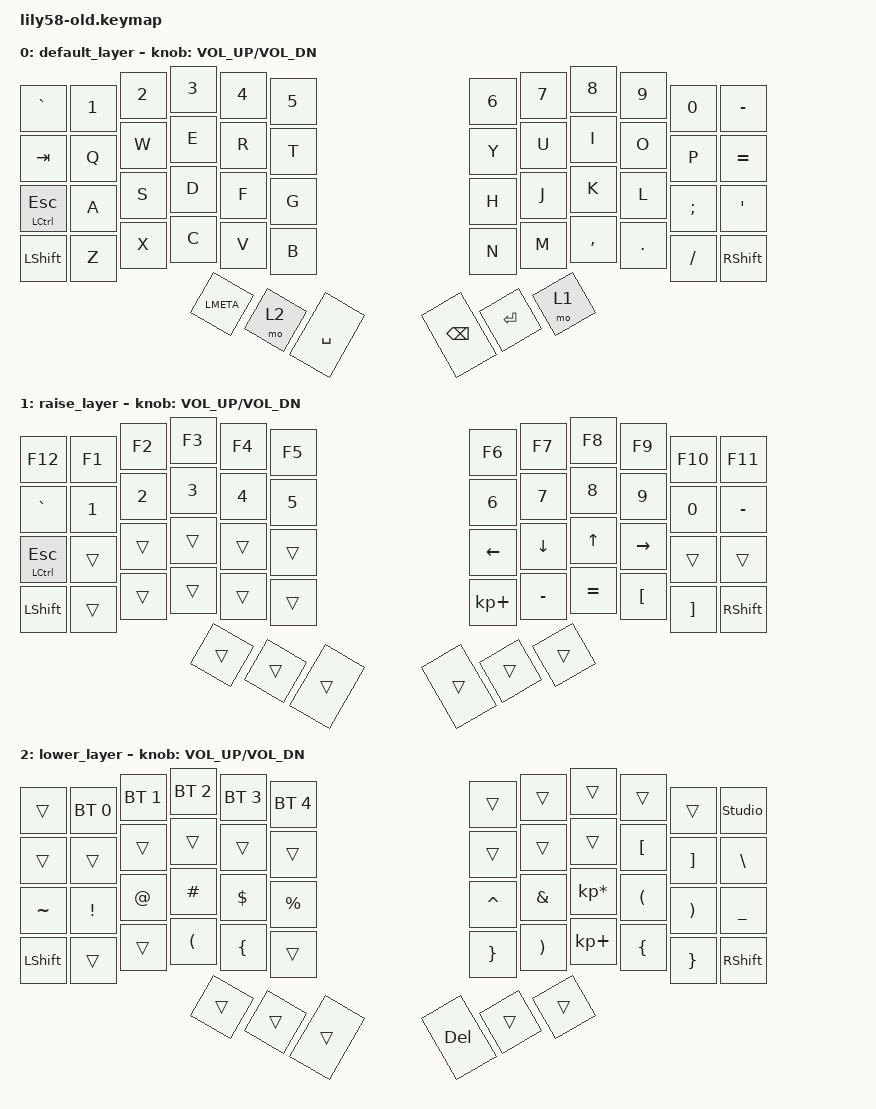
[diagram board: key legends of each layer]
/*
 * Copyright (c) 2020 The ZMK Contributors
 *
 * SPDX-License-Identifier: MIT
 */

#include <behaviors.dtsi>
#include <dt-bindings/zmk/keys.h>
#include <dt-bindings/zmk/bt.h>
#include <dt-bindings/zmk/ext_power.h>

/*
 * Cygnus 4x6 on the Lily58 matrix. The halves use the Lily58 shield, its pins
 * and its rows and columns. The Cygnus has 54 keys, the Lily58 58, so this
 * map leaves out four Lily58 matrix spots: the two inner keys beside the
 * bottom row (RC(4,5), RC(4,6)) and the outermost thumb on each side
 * (RC(4,1), RC(4,10)). The three Cygnus thumbs per side use the other three
 * Lily58 thumb spots, outer to inner on the left and inner to outer on the
 * right. Wire the Cygnus thumbs to those spots.
 *
 * It replaces the map of the shield's default_transform rather than adding a
 * new transform, so the right half keeps the shield's col-offset of 6.
 *
 * The map uses MX(row, col) instead of the usual RC(row, col): keys.h, included
 * above, redefines RC() as the "right Ctrl +" key modifier, which takes one
 * argument. MX is the same formula as RC in matrix_transform.h.
 */
#define MX(row, col) (((row) << 8) + (col))
&default_transform {
    map = <
MX(0,0) MX(0,1) MX(0,2) MX(0,3) MX(0,4) MX(0,5)     MX(0,6) MX(0,7) MX(0,8) MX(0,9) MX(0,10) MX(0,11)
MX(1,0) MX(1,1) MX(1,2) MX(1,3) MX(1,4) MX(1,5)     MX(1,6) MX(1,7) MX(1,8) MX(1,9) MX(1,10) MX(1,11)
MX(2,0) MX(2,1) MX(2,2) MX(2,3) MX(2,4) MX(2,5)     MX(2,6) MX(2,7) MX(2,8) MX(2,9) MX(2,10) MX(2,11)
MX(3,0) MX(3,1) MX(3,2) MX(3,3) MX(3,4) MX(3,5)     MX(3,6) MX(3,7) MX(3,8) MX(3,9) MX(3,10) MX(3,11)
                        MX(4,2) MX(4,3) MX(4,4)     MX(4,7) MX(4,8) MX(4,9)
    >;
};

/*
 * Cygnus 4x6 physical layout, for ZMK Studio. Same positions as
 * config/info.json (the Keymap Editor's copy), in hundredths of a key.
 */
/ {
    chosen {
        zmk,physical-layout = &cygnus_layout;
    };

    cygnus_layout: cygnus_layout {
        compatible = "zmk,physical-layout";
        display-name = "Cygnus 4x6";
        transform = <&default_transform>;

        keys  //                     w   h     x     y      rot    rx    ry
            = <&key_physical_attrs 100 100     0    38        0     0     0>
            , <&key_physical_attrs 100 100   100    38        0     0     0>
            , <&key_physical_attrs 100 100   200    12        0     0     0>
            , <&key_physical_attrs 100 100   300     0        0     0     0>
            , <&key_physical_attrs 100 100   400    12        0     0     0>
            , <&key_physical_attrs 100 100   500    25        0     0     0>
            , <&key_physical_attrs 100 100   900    25        0     0     0>
            , <&key_physical_attrs 100 100  1000    12        0     0     0>
            , <&key_physical_attrs 100 100  1100     0        0     0     0>
            , <&key_physical_attrs 100 100  1200    12        0     0     0>
            , <&key_physical_attrs 100 100  1300    38        0     0     0>
            , <&key_physical_attrs 100 100  1400    38        0     0     0>
            , <&key_physical_attrs 100 100     0   138        0     0     0>
            , <&key_physical_attrs 100 100   100   138        0     0     0>
            , <&key_physical_attrs 100 100   200   112        0     0     0>
            , <&key_physical_attrs 100 100   300   100        0     0     0>
            , <&key_physical_attrs 100 100   400   112        0     0     0>
            , <&key_physical_attrs 100 100   500   125        0     0     0>
            , <&key_physical_attrs 100 100   900   125        0     0     0>
            , <&key_physical_attrs 100 100  1000   112        0     0     0>
            , <&key_physical_attrs 100 100  1100   100        0     0     0>
            , <&key_physical_attrs 100 100  1200   112        0     0     0>
            , <&key_physical_attrs 100 100  1300   138        0     0     0>
            , <&key_physical_attrs 100 100  1400   138        0     0     0>
            , <&key_physical_attrs 100 100     0   238        0     0     0>
            , <&key_physical_attrs 100 100   100   238        0     0     0>
            , <&key_physical_attrs 100 100   200   212        0     0     0>
            , <&key_physical_attrs 100 100   300   200        0     0     0>
            , <&key_physical_attrs 100 100   400   212        0     0     0>
            , <&key_physical_attrs 100 100   500   225        0     0     0>
            , <&key_physical_attrs 100 100   900   225        0     0     0>
            , <&key_physical_attrs 100 100  1000   212        0     0     0>
            , <&key_physical_attrs 100 100  1100   200        0     0     0>
            , <&key_physical_attrs 100 100  1200   212        0     0     0>
            , <&key_physical_attrs 100 100  1300   238        0     0     0>
            , <&key_physical_attrs 100 100  1400   238        0     0     0>
            , <&key_physical_attrs 100 100     0   338        0     0     0>
            , <&key_physical_attrs 100 100   100   338        0     0     0>
            , <&key_physical_attrs 100 100   200   312        0     0     0>
            , <&key_physical_attrs 100 100   300   300        0     0     0>
            , <&key_physical_attrs 100 100   400   312        0     0     0>
            , <&key_physical_attrs 100 100   500   325        0     0     0>
            , <&key_physical_attrs 100 100   900   325        0     0     0>
            , <&key_physical_attrs 100 100  1000   312        0     0     0>
            , <&key_physical_attrs 100 100  1100   300        0     0     0>
            , <&key_physical_attrs 100 100  1200   312        0     0     0>
            , <&key_physical_attrs 100 100  1300   338        0     0     0>
            , <&key_physical_attrs 100 100  1400   338        0     0     0>
            , <&key_physical_attrs 100 100   390   412     3000   390   412>
            , <&key_physical_attrs 100 100   310   440     3000   398   790>
            , <&key_physical_attrs 100 150   415   390     3000   398   790>
            , <&key_physical_attrs 100 150   985   390  (-3000)  1102   790>
            , <&key_physical_attrs 100 100  1090   440  (-3000)  1102   790>
            , <&key_physical_attrs 100 100  1010   412  (-3000)  1110   412>
            ;
    };
};

/* Drop the stock Lily58 drawing: it has 58 keys and no longer matches. */
/delete-node/ &kata0510_lily58_layout;

/ {
    combos {
        compatible = "zmk,combos";

        combo_clear_bluetooth {
            timeout-ms = <50>; // Press all the below keys within 50ms to activate mapping
            key-positions = <49 12 0>; // 49=LOWER, 12=TAB, 0=GRAVE
            bindings = <&bt BT_CLR>; // clear the pairing of the current Bluetooth profile
        };
    };

    keymap {
        compatible = "zmk,keymap";

        default_layer {
            // -------------------------------------------------------------------------------------
            // |   `      |  1  |  2  |  3   |  4   |  5   |   |  6   |  7    |  8    |  9   |   0   |   -   |
            // |  TAB     |  Q  |  W  |  E   |  R   |  T   |   |  Y   |  U    |  I    |  O   |   P   |   =   |
            // |hCTRL tESC|  A  |  S  |  D   |  F   |  G   |   |  H   |  J    |  K    |  L   |   ;   |   '   |
            // | SHIFT    |  Z  |  X  |  C   |  V   |  B   |   |  N   |  M    |  ,    |  .   |   /   | SHIFT |
            //                        | GUI  | LOWER| SPACE|   | BSPC | ENTER | RAISE |

            bindings = <
      &kp GRAVE  &kp N1  &kp N2    &kp N3     &kp N4    &kp N5       &kp N6    &kp N7     &kp N8    &kp N9    &kp N0    &kp MINUS
      &kp TAB    &kp Q   &kp W     &kp E      &kp R     &kp T        &kp Y     &kp U      &kp I     &kp O     &kp P     &kp EQUAL
&mt LCTRL ESC    &kp A   &kp S     &kp D      &kp F     &kp G        &kp H     &kp J      &kp K     &kp L     &kp SEMI  &kp SQT
    &kp LSHFT    &kp Z   &kp X     &kp C      &kp V     &kp B        &kp N     &kp M      &kp COMMA &kp DOT   &kp FSLH  &kp RSHFT
                                   &kp LMETA  &mo 2     &kp SPACE    &kp BSPC  &kp RET    &mo 1
            >;

            sensor-bindings = <&inc_dec_kp C_VOL_UP C_VOL_DN>;
        };

        raise_layer {
            // -------------------------------------------------------------------------------------
            // |  F12    |  F1 |  F2 |  F3  |  F4  |  F5  |   |  F6  |   F7  |   F8  |  F9  |  F10  |  F11  |
            // |   `     |  1  |  2  |  3   |  4   |  5   |   |  6   |   7   |   8   |  9   |   0   |   -   |
            // |CTRL/ESC |     |     |      |      |      |   |  <-  |   v   |   ^   |  ->  |       |       |
            // | SHIFT   |     |     |      |      |      |   |  +   |   -   |   =   |  [   |   ]   |   \   |
            //                       |      |      |      |   |      |       |       |

            bindings = <
      &kp F12  &kp F1  &kp F2  &kp F3  &kp F4  &kp F5      &kp F6       &kp F7     &kp F8     &kp F9    &kp F10   &kp F11
    &kp GRAVE  &kp N1  &kp N2  &kp N3  &kp N4  &kp N5      &kp N6       &kp N7     &kp N8     &kp N9    &kp N0    &kp MINUS
&mt LCTRL ESC  &trans  &trans  &trans  &trans  &trans      &kp LEFT     &kp DOWN   &kp UP     &kp RIGHT &trans    &trans
   &kp LSHIFT  &trans  &trans  &trans  &trans  &trans      &kp KP_PLUS  &kp MINUS  &kp EQUAL  &kp LBKT  &kp RBKT  &kp RIGHT_SHIFT
                               &trans  &trans  &trans      &trans       &trans     &trans
            >;

            sensor-bindings = <&inc_dec_kp C_VOL_UP C_VOL_DN>;
        };

        lower_layer {
            // -------------------------------------------------------------------------------------
            // |          | BT1     | BT2    |  BT3 |  BT4  |  BT5 |   |      |       |       |      |       |STUDIO |
            // |          |         |        |      |       |      |   |      |       |       |  [   |   ]   |   \   |
            // |   ~      |  !      |  @     |  #   |  $    |  %   |   |  ^   |  &    |  *    |  (   |   )   |   _   |
            // | SHIFT    |         |        |      |  (    |  {   |   |  }   |  )    |  +    |  {   |   }   | SHIFT |
            //                               |      |       |      |   | DEL  |       |       |
            bindings = <
    &trans       &bt BT_SEL 0  &bt BT_SEL 1  &bt BT_SEL 2  &bt BT_SEL 3  &bt BT_SEL 4      &trans     &trans      &trans          &trans     &trans    &studio_unlock
    &trans       &trans        &trans        &trans        &trans        &trans            &trans     &trans      &trans          &kp LBKT   &kp RBKT  &kp BSLH
    &kp TILDE    &kp EXCL      &kp AT        &kp HASH      &kp DOLLAR    &kp PRCNT         &kp CARET  &kp AMPS    &kp KP_MULTIPLY &kp LPAR   &kp RPAR  &kp UNDER
    &kp LSHIFT   &trans        &trans        &kp LPAR      &kp LBRC      &trans            &kp RBRC   &kp RPAR    &kp KP_PLUS     &kp LBRC   &kp RBRC  &kp RSHFT
                                             &trans        &trans        &trans            &kp DEL    &trans      &trans
            >;

            sensor-bindings = <&inc_dec_kp C_VOL_UP C_VOL_DN>;
        };
    };
};
